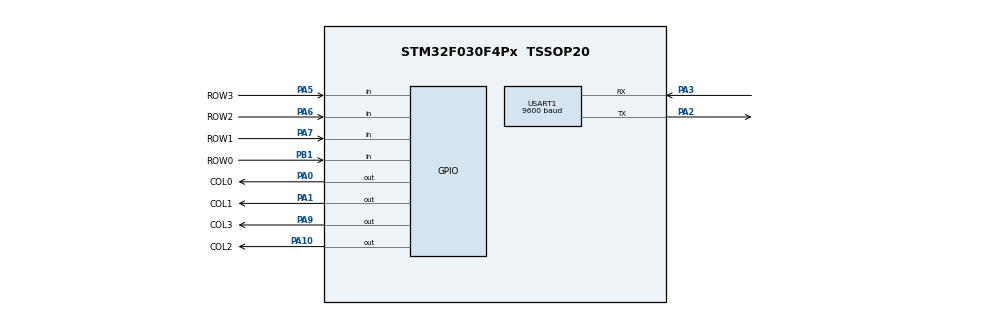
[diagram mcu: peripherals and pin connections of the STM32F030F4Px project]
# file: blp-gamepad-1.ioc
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Dma.Request0=USART1_TX
Dma.USART1_TX.0.Direction=DMA_MEMORY_TO_PERIPH
Dma.USART1_TX.0.Instance=DMA1_Channel2
Dma.USART1_TX.0.MemDataAlignment=DMA_MDATAALIGN_BYTE
Dma.USART1_TX.0.MemInc=DMA_MINC_ENABLE
Dma.USART1_TX.0.Mode=DMA_NORMAL
Dma.USART1_TX.0.PeriphDataAlignment=DMA_PDATAALIGN_BYTE
Dma.USART1_TX.0.PeriphInc=DMA_PINC_DISABLE
Dma.USART1_TX.0.Priority=DMA_PRIORITY_LOW
Mcu.Family=STM32F0
Mcu.Name=STM32F030F4Px
Mcu.Package=TSSOP20
NVIC.DMA1_Channel2_3_IRQn=true\:0\:0\:false\:false\:true\:false\:true\:true
NVIC.USART1_IRQn=true\:0\:0\:false\:false\:true\:false\:true\:true
PA0.GPIO_Label=COL0
PA0.Signal=GPIO_Output
PA1.GPIO_Label=COL1
PA1.Signal=GPIO_Output
PA10.GPIO_Label=COL2
PA10.Signal=GPIO_Output
PA13.Mode=Serial_Wire
PA13.Signal=SYS_SWDIO
PA14.Mode=Serial_Wire
PA14.Signal=SYS_SWCLK
PA2.Mode=Asynchronous
PA2.Signal=USART1_TX
PA3.Mode=Asynchronous
PA3.Signal=USART1_RX
PA5.GPIO_Label=ROW3
PA5.Signal=GPIO_Input
PA6.GPIO_Label=ROW2
PA6.Signal=GPIO_Input
PA7.GPIO_Label=ROW1
PA7.Signal=GPIO_Input
PA9.GPIO_Label=COL3
PA9.Signal=GPIO_Output
PB1.GPIO_Label=ROW0
PB1.Signal=GPIO_Input
ProjectManager.HeapSize=0x200
ProjectManager.StackSize=0x400
ProjectManager.TargetToolchain=CMake
USART1.BaudRate=9600
USART1.VirtualMode-Asynchronous=VM_ASYNC
board=custom

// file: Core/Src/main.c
/* USER CODE BEGIN Header */
/**
  ******************************************************************************
  * @file           : main.c
  * @brief          : Main program body
  ******************************************************************************
  * @attention
  *
  * Copyright (c) 2026 STMicroelectronics.
  * All rights reserved.
  *
  * This software is licensed under terms that can be found in the LICENSE file
  * in the root directory of this software component.
  * If no LICENSE file comes with this software, it is provided AS-IS.
  *
  ******************************************************************************
  */
/* USER CODE END Header */
#include "main.h"

/* USER CODE BEGIN Includes */
#include <stdio.h>

#include "protocol.h"
/* USER CODE END Includes */

UART_HandleTypeDef huart1;
DMA_HandleTypeDef hdma_usart1_tx;

void SystemClock_Config(void);
static void MX_GPIO_Init(void);
static void MX_DMA_Init(void);
static void MX_USART1_UART_Init(void);

/* USER CODE BEGIN 0 */
uint16_t buttons, old_buttons;

uint16_t col_pins[4] = {
  GPIO_PIN_0,
  GPIO_PIN_1,
  GPIO_PIN_9,
  GPIO_PIN_10
};

uint16_t row_pins[4] = {
  GPIO_PIN_1,
  GPIO_PIN_7,
  GPIO_PIN_6,
  GPIO_PIN_5,
};

GPIO_TypeDef* row_banks[4] = {
  GPIOB,
  GPIOA,
  GPIOA,
  GPIOA,
};

key_t keymap[16] = {
  KEY_UNKNOWN,
  KEY_RIGHT,
  KEY_UNKNOWN,
  KEY_UNKNOWN,
  KEY_UNKNOWN,
  KEY_UNKNOWN,
  KEY_A,
  KEY_B,
  KEY_UP,
  KEY_UNKNOWN,
  KEY_DOWN,
  KEY_UNKNOWN,
  KEY_UNKNOWN,
  KEY_LEFT,
  KEY_UNKNOWN,
  KEY_UNKNOWN,
};

/* USER CODE END 0 */

int main(void)
{

  /* MCU Configuration--------------------------------------------------------*/

  /* Reset of all peripherals, Initializes the Flash interface and the Systick. */
  HAL_Init();

  /* Configure the system clock */
  SystemClock_Config();

  /* Initialize all configured peripherals */
  MX_GPIO_Init();
  MX_DMA_Init();
  MX_USART1_UART_Init();
  /* USER CODE BEGIN 2 */
  outbound_packet_t key;
  key.id = 0x01;
  /* USER CODE END 2 */

  /* Infinite loop */
  /* USER CODE BEGIN WHILE */
  while (1)
  {
    for (volatile int i = 0; i < 4; i++) {
      for (int k = 0; k < 4; k++) {
        HAL_GPIO_WritePin(GPIOA, col_pins[k], i == k ? GPIO_PIN_SET : GPIO_PIN_RESET);
      }
      for (int k = 0; k < 4; k++) {
        const volatile uint16_t bit = (HAL_GPIO_ReadPin(row_banks[k], row_pins[k]) == GPIO_PIN_SET) << ((i * 4) + k);
        if (bit) {
          buttons |= bit;
        } else {
          buttons &= ~(1 << ((i * 4) + k));
        }
      }
      HAL_Delay(1);
    }
    if (buttons != old_buttons) {
      const uint16_t diff = buttons ^ old_buttons;
      for (int i = 0; i < 16; i++) {
        const uint16_t changed = diff & (1 << i);
        const uint16_t pressed = buttons & (1 << i);
        if (changed) {
          if (keymap[i] != KEY_UNKNOWN) {
            key.key_event.key = keymap[i];
            key.key_event.type = pressed ? KE_DOWN : KE_UP;
            key.key_event.intensity = 0xff;
            key.crc = calculate_packet_checksum(key);
            HAL_UART_Transmit_DMA(&huart1, key.raw, 6);
          }
        }
      }
      old_buttons = buttons;
    }

    HAL_Delay(1);
    /* USER CODE END WHILE */

  }
}

void SystemClock_Config(void)
{
  RCC_OscInitTypeDef RCC_OscInitStruct = {0};
  RCC_ClkInitTypeDef RCC_ClkInitStruct = {0};
  RCC_PeriphCLKInitTypeDef PeriphClkInit = {0};

  /** Initializes the RCC Oscillators according to the specified parameters
  * in the RCC_OscInitTypeDef structure.
  */
  RCC_OscInitStruct.OscillatorType = RCC_OSCILLATORTYPE_HSI;
  RCC_OscInitStruct.HSIState = RCC_HSI_ON;
  RCC_OscInitStruct.HSICalibrationValue = RCC_HSICALIBRATION_DEFAULT;
  RCC_OscInitStruct.PLL.PLLState = RCC_PLL_NONE;
  if (HAL_RCC_OscConfig(&RCC_OscInitStruct) != HAL_OK)
  {
    Error_Handler();
  }

  /** Initializes the CPU, AHB and APB buses clocks
  */
  RCC_ClkInitStruct.ClockType = RCC_CLOCKTYPE_HCLK|RCC_CLOCKTYPE_SYSCLK
                              |RCC_CLOCKTYPE_PCLK1;
  RCC_ClkInitStruct.SYSCLKSource = RCC_SYSCLKSOURCE_HSI;
  RCC_ClkInitStruct.AHBCLKDivider = RCC_SYSCLK_DIV1;
  RCC_ClkInitStruct.APB1CLKDivider = RCC_HCLK_DIV1;

  if (HAL_RCC_ClockConfig(&RCC_ClkInitStruct, FLASH_LATENCY_0) != HAL_OK)
  {
    Error_Handler();
  }
  PeriphClkInit.PeriphClockSelection = RCC_PERIPHCLK_USART1;
  PeriphClkInit.Usart1ClockSelection = RCC_USART1CLKSOURCE_PCLK1;
  if (HAL_RCCEx_PeriphCLKConfig(&PeriphClkInit) != HAL_OK)
  {
    Error_Handler();
  }
}

static void MX_USART1_UART_Init(void)
{

  huart1.Instance = USART1;
  huart1.Init.BaudRate = 9600;
  huart1.Init.WordLength = UART_WORDLENGTH_8B;
  huart1.Init.StopBits = UART_STOPBITS_1;
  huart1.Init.Parity = UART_PARITY_NONE;
  huart1.Init.Mode = UART_MODE_TX_RX;
  huart1.Init.HwFlowCtl = UART_HWCONTROL_NONE;
  huart1.Init.OverSampling = UART_OVERSAMPLING_16;
  huart1.Init.OneBitSampling = UART_ONE_BIT_SAMPLE_DISABLE;
  huart1.AdvancedInit.AdvFeatureInit = UART_ADVFEATURE_NO_INIT;
  if (HAL_UART_Init(&huart1) != HAL_OK)
  {
    Error_Handler();
  }

}

static void MX_DMA_Init(void)
{

  /* DMA controller clock enable */
  __HAL_RCC_DMA1_CLK_ENABLE();

  /* DMA interrupt init */
  /* DMA1_Channel2_3_IRQn interrupt configuration */
  HAL_NVIC_SetPriority(DMA1_Channel2_3_IRQn, 0, 0);
  HAL_NVIC_EnableIRQ(DMA1_Channel2_3_IRQn);

}

static void MX_GPIO_Init(void)
{
  GPIO_InitTypeDef GPIO_InitStruct = {0};

  /* GPIO Ports Clock Enable */
  __HAL_RCC_GPIOA_CLK_ENABLE();
  __HAL_RCC_GPIOB_CLK_ENABLE();

  /*Configure GPIO pin Output Level */
  HAL_GPIO_WritePin(GPIOA, COL0_Pin|COL1_Pin|COL3_Pin|COL2_Pin, GPIO_PIN_RESET);

  /*Configure GPIO pins : COL0_Pin COL1_Pin COL3_Pin COL2_Pin */
  GPIO_InitStruct.Pin = COL0_Pin|COL1_Pin|COL3_Pin|COL2_Pin;
  GPIO_InitStruct.Mode = GPIO_MODE_OUTPUT_PP;
  GPIO_InitStruct.Pull = GPIO_NOPULL;
  GPIO_InitStruct.Speed = GPIO_SPEED_FREQ_LOW;
  HAL_GPIO_Init(GPIOA, &GPIO_InitStruct);

  /*Configure GPIO pins : ROW3_Pin ROW2_Pin ROW1_Pin */
  GPIO_InitStruct.Pin = ROW3_Pin|ROW2_Pin|ROW1_Pin;
  GPIO_InitStruct.Mode = GPIO_MODE_INPUT;
  GPIO_InitStruct.Pull = GPIO_NOPULL;
  HAL_GPIO_Init(GPIOA, &GPIO_InitStruct);

  /*Configure GPIO pin : ROW0_Pin */
  GPIO_InitStruct.Pin = ROW0_Pin;
  GPIO_InitStruct.Mode = GPIO_MODE_INPUT;
  GPIO_InitStruct.Pull = GPIO_NOPULL;
  HAL_GPIO_Init(ROW0_GPIO_Port, &GPIO_InitStruct);

}

void Error_Handler(void)
{
  __disable_irq();
  while (1)
  {
  }
}
